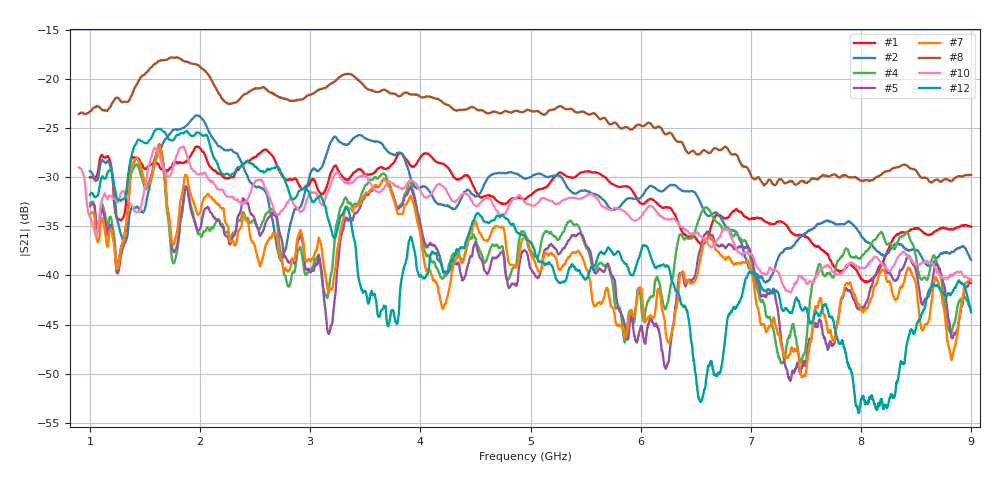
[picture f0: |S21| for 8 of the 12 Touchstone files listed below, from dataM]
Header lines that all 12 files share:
!Keysight Technologies N9915A: A.10.33
!Timezone: (UTC+08:00) Perth
!Model: N9915A
!Serial: MY53102697
!GPS Latitude:
!GPS Longitude:
!GPS TimeStamp: 0001-01-01 00:00:00Z
!GPS Seconds Since Last Read: 0
!S2P File: Measurements:S11,S21,S12,S22:
# Hz S DB R 50
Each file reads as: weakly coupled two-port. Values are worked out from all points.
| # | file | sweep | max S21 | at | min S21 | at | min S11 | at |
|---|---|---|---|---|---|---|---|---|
| 1 | 1R.s2p | 1 GHz to 9 GHz | -26.86 dB | 1.971 GHz | -40.7 dB | 8.058 GHz | -30.5 dB | 3.594 GHz |
| 2 | 2R.s2p | 1 GHz to 9 GHz | -23.68 dB | 1.969 GHz | -40.7 dB | 7.131 GHz | -30.5 dB | 3.593 GHz |
| 3 | 3R.s2p | 1 GHz to 9 GHz | -25.56 dB | 3.229 GHz | -42.2 dB | 8.135 GHz | -30.3 dB | 3.594 GHz |
| 4 | 3R_2D.s2p | 1 GHz to 9 GHz | -26.77 dB | 1.63 GHz | -49.0 dB | 7.277 GHz | -26.6 dB | 4.637 GHz |
| 5 | 3R_4D.s2p | 1 GHz to 9 GHz | -26.63 dB | 1.63 GHz | -50.7 dB | 7.357 GHz | -28.1 dB | 3.609 GHz |
| 6 | 3R_NOLOS.s2p | 1 GHz to 9 GHz | -25.84 dB | 1.635 GHz | -54.5 dB | 7.95 GHz | -29.1 dB | 3.628 GHz |
| 7 | 4R_4D.s2p | 1 GHz to 9 GHz | -26.77 dB | 1.629 GHz | -50.4 dB | 7.465 GHz | -28.0 dB | 3.608 GHz |
| 8 | 100cm_SEP.s2p | 900 MHz to 9 GHz | -17.76 dB | 1.783 GHz | -30.8 dB | 7.121 GHz | -29.6 dB | 3.136 GHz |
| 9 | 194cm_SEP.s2p | 900 MHz to 9 GHz | -22.82 dB | 1.856 GHz | -35.4 dB | 8.085 GHz | -25.7 dB | 5.841 GHz |
| 10 | 363cm_SEP.s2p | 900 MHz to 9 GHz | -26.87 dB | 1.848 GHz | -41.7 dB | 7.364 GHz | -28.5 dB | 5.128 GHz |
| 11 | LOS.s2p | 1 GHz to 9 GHz | -26.26 dB | 1.599 GHz | -38.2 dB | 8.64 GHz | -30.4 dB | 3.593 GHz |
| 12 | NOLOS.s2p | 1 GHz to 9 GHz | -25.07 dB | 1.639 GHz | -54.0 dB | 7.978 GHz | -28.0 dB | 3.598 GHz |
